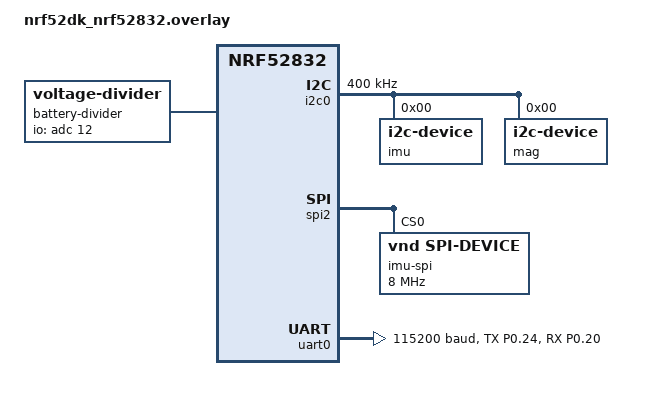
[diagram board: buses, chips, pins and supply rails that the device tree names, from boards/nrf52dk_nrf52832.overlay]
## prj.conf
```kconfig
#CONFIG_NCS_SAMPLES_DEFAULTS
CONFIG_ASSERT=y
CONFIG_ASSERT_NO_COND_INFO=y
CONFIG_ASSERT_NO_MSG_INFO=y
CONFIG_RESET_ON_FATAL_ERROR=y

CONFIG_NCS_APPLICATION_BOOT_BANNER_STRING="SlimeVR-Tracker-nRF"
#CONFIG_NCS_BOOT_BANNER=n
CONFIG_BOOT_BANNER=n

CONFIG_ESB=y
#need to enable for nRF54L
CONFIG_NRFX_DPPI10=y

CONFIG_ADC=y
CONFIG_ADC_NRFX_SAADC=y
CONFIG_FPU=y
CONFIG_I2C=y
CONFIG_SPI=y
CONFIG_PINCTRL=y

CONFIG_NVS=y
CONFIG_NVS_LOOKUP_CACHE=y
CONFIG_NVS_INIT_BAD_MEMORY_REGION=y

CONFIG_POWEROFF=y
CONFIG_REBOOT=y

CONFIG_FLASH=y
CONFIG_FLASH_PAGE_LAYOUT=y
CONFIG_FLASH_MAP=y

CONFIG_SETTINGS=y
CONFIG_SETTINGS_RUNTIME=y
CONFIG_SETTINGS_NONE=y

CONFIG_MPU_ALLOW_FLASH_WRITE=y

CONFIG_RETAINED_MEM=y

#CONFIG_USE_SEGGER_RTT=y
CONFIG_LOG=y
#CONFIG_PRINTK=y
CONFIG_LOG_MODE_DEFERRED=y
CONFIG_LOG_SPEED=y
CONFIG_LOG_BACKEND_RTT=y
CONFIG_CBPRINTF_FP_SUPPORT=y
CONFIG_ADC_LOG_LEVEL_OFF=y
CONFIG_LOG_FUNC_NAME_PREFIX_ERR=y
CONFIG_LOG_BUFFER_SIZE=1536
CONFIG_LOG_BACKEND_UART_AUTOSTART=n
CONFIG_LOG_PROCESS_THREAD_SLEEP_MS=50
CONFIG_LOG_PROCESS_THREAD_STACK_SIZE=1024

CONFIG_PWM=y
CONFIG_GPIO=y

CONFIG_CRC=y

CONFIG_NEWLIB_LIBC=y
CONFIG_NRFX_TIMER1=y

#speed up boot? (use internal rc oscillator)
CONFIG_CLOCK_CONTROL_NRF_K32SRC_RC=y
CONFIG_CLOCK_CONTROL_NRF_K32SRC_RC_CALIBRATION=n
#speed up boot? (synthesize lf clock)
#CONFIG_CLOCK_CONTROL_NRF_K32SRC_SYNTH=y

# dont need it
CONFIG_CRYPTO=n

# set timeout for 25ms, sufficient for ~1000 bytes
CONFIG_I2C_NRFX_TRANSFER_TIMEOUT=25

CONFIG_USB_DEVICE_HID=y
CONFIG_USB_DEVICE_VID=0x1209
CONFIG_USB_DEVICE_PID=0x7692
CONFIG_USB_HID_BOOT_PROTOCOL=y
CONFIG_USB_DEVICE_INITIALIZE_AT_BOOT=n
CONFIG_USB_CDC_ACM=y
CONFIG_UART_INTERRUPT_DRIVEN=y
CONFIG_USB_WORKQUEUE_STACK_SIZE=512

CONFIG_SERIAL=y
CONFIG_CONSOLE=y
#CONFIG_RTT_CONSOLE=y
CONFIG_UART_CONSOLE=y
CONFIG_UART_LINE_CTRL=y
# fit "write all <base64:173>"
CONFIG_CONSOLE_INPUT_MAX_LINE_LEN=256
CONFIG_UART_CONSOLE_ON_DEV_NAME="UART_0"

CONFIG_LOG=y
CONFIG_USB_DRIVER_LOG_LEVEL_ERR=y
CONFIG_USB_DEVICE_LOG_LEVEL_ERR=y
CONFIG_USB_CDC_ACM_LOG_LEVEL_OFF=y

CONFIG_LOG_BACKEND_UART=y

CONFIG_CONSOLE_SUBSYS=y
CONFIG_CONSOLE_GETLINE=y

CONFIG_NVS_LOG_LEVEL_WRN=y
CONFIG_USB_HID_LOG_LEVEL_WRN=y

CONFIG_USB_DEVICE_SOF=y
CONFIG_USB_HID_REPORTS=256

#CONFIG_USB_HID_POLL_INTERVAL_MS=1
CONFIG_USB_HID_POLL_INTERVAL_MS=0
CONFIG_HID_INTERRUPT_EP_MPS=64
#CONFIG_ENABLE_HID_INT_OUT_EP=y

CONFIG_SYSTEM_WORKQUEUE_STACK_SIZE=256
CONFIG_MAIN_STACK_SIZE=512
#crashing on nrf54l at 512

CONFIG_THREAD_NAME=y

# TODO: because of icm426, this will break things and needs to be raised to at least 3k
CONFIG_HEAP_MEM_POOL_SIZE=2048
CONFIG_ISR_STACK_SIZE=1024

CONFIG_PM_DEVICE=y

CONFIG_BASE64=y

#CONFIG_THREAD_ANALYZER=y
#CONFIG_THREAD_ANALYZER_AUTO=y
#CONFIG_THREAD_ANALYZER_AUTO_INTERVAL=5
```

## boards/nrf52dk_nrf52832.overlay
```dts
&pwm0_default {
	group1 {
		psels = <NRF_PSEL(PWM_OUT0, 0, 13)>,
			<NRF_PSEL(PWM_OUT1, 0, 14)>,
			<NRF_PSEL(PWM_OUT2, 0, 15)>;
		nordic,drive-mode = <NRF_DRIVE_D0S1>;
		nordic,invert;
	};
};

&pwm0_sleep {
	group1 {
		psels = <NRF_PSEL(PWM_OUT0, 0, 13)>,
			<NRF_PSEL(PWM_OUT1, 0, 14)>,
			<NRF_PSEL(PWM_OUT2, 0, 15)>;
	};
};

/ {
	chosen {
		zephyr,console = &uart0;
	};
	pwmleds {
		pwm_led1: pwm_led_1 {
			pwms = <&pwm0 1 PWM_MSEC(20) PWM_POLARITY_INVERTED>;
		};
		pwm_led2: pwm_led_2 {
			pwms = <&pwm0 2 PWM_MSEC(20) PWM_POLARITY_INVERTED>;
		};
	};

	battery-divider {
		compatible = "voltage-divider";
		status = "okay";
		io-channels = <&adc 12>; // Measure VDDHDIV5
		output-ohms = <1>;
		full-ohms = <2>;
	};

	aliases {
		pwm-led1 = &pwm_led1;
		pwm-led2 = &pwm_led2;
	};
};

&i2c0 {
	compatible = "nordic,nrf-twim";
	zephyr,concat-buf-size = <255>; // MAXCNT
	zephyr,flash-buf-max-size = <255>;
	clock-frequency = <I2C_BITRATE_FAST>;

	imu: imu@0 { // any address out of range (00, 7f, etc. will search all addresses and stored address first if available, specify an address here to search first otherwise
		compatible = "i2c-device";
		label = "imu";
		reg = <0>;
	};

	mag: mag@0 {
		compatible = "i2c-device";
		label = "mag";
		reg = <0>;
	};

};

arduino_spi: &spi2 {
	imu_spi: imu_spi@0 {
		compatible = "vnd,spi-device";
		spi-max-frequency = <DT_FREQ_M(8)>;
		label = "imu-spi";
		reg = <0>;
	};
};

&uart0 {
	compatible = "nordic,nrf-uart";
	status = "okay";
	current-speed = <115200>;
    
    pinctrl-0 = <&pinctrl_uart0_default>;
	pinctrl-1 = <&pinctrl_uart0_sleep>;
	pinctrl-names = "default", "sleep";
};

// --- 在 &pinctrl (通常是 GPIO 節點) 中定義引腳 ---
&pinctrl {
	pinctrl_uart0_default: uart0_default {
		group {
			psels = <NRF_PSEL(UART_TX, 0, 24)>, 
					<NRF_PSEL(UART_RX, 0, 20)>;
		};
	};
	pinctrl_uart0_sleep: uart0_sleep {
		group {
			psels = <NRF_PSEL(UART_TX, 0, 24)>, 
					<NRF_PSEL(UART_RX, 0, 20)>;
			low-power-enable;
		};
	};
};

&reg {
    regulator-initial-mode = <NRF5X_REG_MODE_LDO>;
};
```

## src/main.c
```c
/*
 * Copyright (c) 2024 Zephyr Console Example
 * Target: nRF52832
 */

#include <zephyr/kernel.h>
#include <zephyr/sys/printk.h>
#include <zephyr/console/console.h> /* 引入 Console 子系統 */

/* * 輸入處理執行緒
 * 負責透過 console_getline 讀取資料並處理
 */
void input_thread_entry(void *p1, void *p2, void *p3)
{
	printk("[Input Thread] 啟動，等待輸入...\n");

	/* 初始化 console_getline 功能 */
	console_getline_init();

	while (1) {
		/* 提示符號 */
		printk("Zephyr> ");

		/* * console_getline() 是一個阻塞函數 (Blocking Call)
		 * 它會讓此執行緒進入休眠，直到使用者輸入一行文字並按下 Enter
		 * 這樣不會佔用 CPU 資源
		 */
		char *s = console_getline();

		/* 收到輸入後的處理 */
		printk("\n[Input Thread] 您輸入了: %s\n", s);
		
		/* 簡單的指令判斷範例 */
		if (strcmp(s, "hello") == 0) {
			printk("-> World!\n");
		} else if (strcmp(s, "help") == 0) {
			printk("-> 支援指令: hello, help\n");
		}
	}
}

int main(void)
{
	printk("[Main] 系統啟動\n");

	/* * 建立並啟動輸入處理執行緒
	 * 這樣輸入邏輯就與主程式邏輯分開了
	 */
	printk("[Input Thread] 啟動，等待輸入...\n");

	/* 初始化 console_getline 功能 */
	console_getline_init();

	while (1) {
		/* 提示符號 */
		printk("Zephyr> ");

		/* * console_getline() 是一個阻塞函數 (Blocking Call)
		 * 它會讓此執行緒進入休眠，直到使用者輸入一行文字並按下 Enter
		 * 這樣不會佔用 CPU 資源
		 */
		char *s = console_getline();

		/* 收到輸入後的處理 */
		printk("\n[Input Thread] 您輸入了: %s\n", s);
		
		/* 簡單的指令判斷範例 */
		if (strcmp(s, "hello") == 0) {
			printk("-> World!\n");
		} else if (strcmp(s, "help") == 0) {
			printk("-> 支援指令: hello, help\n");
		}
	}
	/* * 主執行緒 (Main Thread) 迴圈
	 * 這裡模擬系統的其他工作（例如讀取感測器、閃爍 LED 等）
	 * 證明 console_getline 不會卡住整個系統
	 */
	int count = 0;
	while (1) {
		/* 每 5 秒印出一條訊息，證明主執行緒仍在運作 */
		// printk("[Main] 系統運作中... (%d)\n", ++count);
		k_sleep(K_SECONDS(5));
	}
	
	return 0;
}
```

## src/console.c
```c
#include "globals.h"
#include "system/system.h"
#include "system/battery_tracker.h"
#include "sensor/sensor.h"
#include "sensor/calibration.h"
#include "connection/esb.h"
#include "build_defines.h"
#include "parse_args.h"

#if CONFIG_USB_DEVICE_STACK
#define USB DT_NODELABEL(usbd)
#define USB_EXISTS (DT_NODE_HAS_STATUS(USB, okay) && CONFIG_UART_CONSOLE)
#else
#define CONFIG_UART_CONSOLE_DIRECT CONFIG_UART_CONSOLE
#endif

#if (USB_EXISTS || CONFIG_RTT_CONSOLE || CONFIG_UART_CONSOLE_DIRECT) && CONFIG_USE_SLIMENRF_CONSOLE

#if USB_EXISTS
#include <zephyr/console/console.h>
#include <zephyr/logging/log_ctrl.h>
#elif CONFIG_UART_CONSOLE_DIRECT
#include <zephyr/console/console.h>
#include <zephyr/logging/log_ctrl.h>
#else
#include "system/rtt_console.h"
#endif
#include <zephyr/drivers/gpio.h>
#include <zephyr/sys/reboot.h>
#include <zephyr/sys/base64.h>

#include <ctype.h>

LOG_MODULE_REGISTER(console, LOG_LEVEL_INF);

static void console_thread(void);
#if USB_EXISTS
#warning "USB exist"
static struct k_thread console_thread_id;
static K_THREAD_STACK_DEFINE(console_thread_id_stack, 1024); // TODO: larger stack size to handle print info
#else
#warning "USB not exist"
K_THREAD_DEFINE(console_thread_id, 1024, console_thread, NULL, NULL, NULL, CONSOLE_THREAD_PRIORITY, 0, 0);
#endif

#define DFU_EXISTS CONFIG_BUILD_OUTPUT_UF2 || CONFIG_BOARD_HAS_NRF5_BOOTLOADER
#define ADAFRUIT_BOOTLOADER CONFIG_BUILD_OUTPUT_UF2
#define NRF5_BOOTLOADER CONFIG_BOARD_HAS_NRF5_BOOTLOADER

#if NRF5_BOOTLOADER
static const struct device *gpio_dev = DEVICE_DT_GET(DT_NODELABEL(gpio0));
#endif

#if DT_NODE_HAS_STATUS(DT_NODELABEL(mag), okay)
#define SENSOR_MAG_EXISTS true
#endif

static const char *meows[] = {
	"Mew",
	"Meww",
	"Meow",
	"Meow meow",
	"Mrrrp",
	"Mrrf",
	"Mreow",
	"Mrrrow",
	"Mrrr",
	"Purr",
	"mew",
	"meww",
	"meow",
	"meow meow",
	"mrrrp",
	"mrrf",
	"mreow",
	"mrrrow",
	"mrrr",
	"purr",
};

static const char *meow_punctuations[] = {
	".",
	"?",
	"!",
	"-",
	"~",
	""
};

static const char *meow_suffixes[] = {
	" :3",
	" :3c",
	" ;3",
	" ;3c",
	" x3",
	" x3c",
	" X3",
	" X3c",
	" >:3",
	" >:3c",
	" >;3",
	" >;3c",
	""
};

void console_thread_create(void)
{
#if USB_EXISTS
	k_thread_create(&console_thread_id, console_thread_id_stack, K_THREAD_STACK_SIZEOF(console_thread_id_stack), (k_thread_entry_t)console_thread, NULL, NULL, NULL, CONSOLE_THREAD_PRIORITY, 0, K_NO_WAIT);
#endif
}

void console_thread_abort(void)
{
#if USB_EXISTS
	k_thread_abort(&console_thread_id);
#endif
}

static void print_board(void)
{
#if USB_EXISTS
	printk(CONFIG_USB_DEVICE_MANUFACTURER " " CONFIG_USB_DEVICE_PRODUCT "\n");
#endif
	printk(FW_STRING);

	printk("\nBoard: " CONFIG_BOARD "\n");
	printk("SOC: " CONFIG_SOC "\n");
	printk("Target: " CONFIG_BOARD_TARGET "\n");
}

static void print_sensor(void)
{
	printk("IMU: %s\n", (retained->imu_addr & 0x7F) != 0x7F ? sensor_get_sensor_imu_name() : "Not searching");
	if (retained->imu_reg != 0xFF)
		printk("Interface: %s\n", (retained->imu_reg & 0x80) ? "SPI" : "I2C");
	printk("Address: 0x%02X%02X\n", retained->imu_addr, retained->imu_reg);

#if SENSOR_MAG_EXISTS
	printk("\nMagnetometer: %s\n", (retained->mag_addr & 0x7F) != 0x7F ? sensor_get_sensor_mag_name() : "Not searching");
	if (retained->mag_reg != 0xFF)
		printk("Interface: %s%s\n", (retained->mag_reg & 0x80) ? "SPI" : "I2C", (retained->mag_addr & 0x80) ? ", external" : "");
	printk("Address: 0x%02X%02X\n", retained->mag_addr, retained->mag_reg);
#endif

#if CONFIG_SENSOR_USE_6_SIDE_CALIBRATION
	printk("\nAccelerometer matrix:\n");
	for (int i = 0; i < 3; i++)
		printk("%.5f %.5f %.5f %.5f\n", (double)retained->accBAinv[0][i], (double)retained->accBAinv[1][i], (double)retained->accBAinv[2][i], (double)retained->accBAinv[3][i]);
#else
	printk("\nAccelerometer bias: %.5f %.5f %.5f\n", (double)retained->accelBias[0], (double)retained->accelBias[1], (double)retained->accelBias[2]);
#endif
	printk("Gyroscope bias: %.5f %.5f %.5f\n", (double)retained->gyroBias[0], (double)retained->gyroBias[1], (double)retained->gyroBias[2]);
#if SENSOR_MAG_EXISTS
//	printk("Magnetometer bridge offset: %.5f %.5f %.5f\n", (double)retained->magBias[0], (double)retained->magBias[1], (double)retained->magBias[2]);
	printk("Magnetometer matrix:\n");
	for (int i = 0; i < 3; i++)
		printk("%.5f %.5f %.5f %.5f\n", (double)retained->magBAinv[0][i], (double)retained->magBAinv[1][i], (double)retained->magBAinv[2][i], (double)retained->magBAinv[3][i]);
#endif

	printk("\nFusion: %s\n", sensor_get_sensor_fusion_name());
}

static void print_connection(void)
{
	bool paired = retained->paired_addr[0];
	printk(paired ? "Tracker ID: %u\n" : "\nTracker ID: None\n", retained->paired_addr[1]);
	printk("Device address: %012llX\n", *(uint64_t *)NRF_FICR->DEVICEADDR & 0xFFFFFFFFFFFF);
	printk(paired ? "Receiver address: %012llX\n" : "Receiver address: None\n", (*(uint64_t *)&retained->paired_addr[0] >> 16) & 0xFFFFFFFFFFFF);
}

static void print_battery(void)
{
	int battery_mV = sys_get_valid_battery_mV();
	int16_t calibrated_pptt = sys_get_calibrated_battery_pptt(sys_get_valid_battery_pptt());
	uint64_t unplugged_time = sys_get_last_unplugged_time();
	uint64_t remaining = sys_get_battery_remaining_time_estimate();
	uint64_t runtime = sys_get_battery_runtime_estimate();
	if (battery_mV > 0)
	{
		unplugged_time = k_ticks_to_us_floor64(k_uptime_ticks() - unplugged_time);
		uint32_t hours = unplugged_time / 3600000000;
		unplugged_time %= 3600000000;
		uint8_t minutes = unplugged_time / 60000000;
		if (hours > 0 || minutes > 0)
			printk("Battery: %.0f%% (Read %uh %umin ago)\n", (double)calibrated_pptt / 100.0, hours, minutes);
		else
			printk("Battery: %.0f%%\n", (double)calibrated_pptt / 100.0);
	}
	else if (unplugged_time == 0)
	{
		printk("Battery: Waiting for valid reading\n");
	}
	else
	{
		printk("Battery: None\n");
	}
	if (remaining > 0)
	{
		remaining = k_ticks_to_us_floor64(remaining);
		uint32_t hours = remaining / 3600000000;
		remaining %= 3600000000;
		uint8_t minutes = remaining / 60000000;
		printk("Remaining runtime: %uh %umin\n", hours, minutes);
	}
	else
	{
		printk("Remaining runtime: Not available\n");
	}
	if (runtime > 0)
	{
		runtime = k_ticks_to_us_floor64(runtime);
		uint32_t hours = runtime / 3600000000;
		runtime %= 3600000000;
		uint8_t minutes = runtime / 60000000;
		printk("Fully charged runtime: %uh %umin\n", hours, minutes);
	}
	else
	{
		printk("Fully charged runtime: Not available\n");
	}
}

static void print_info(void)
{
	print_board();
	printk("\n");
	print_sensor();
	printk("\n");
	print_connection();
	printk("\n");
	print_battery();
}

static void print_uptime(const uint64_t ticks, const char *name)
{
	uint64_t uptime = k_ticks_to_us_floor64(ticks);

	uint32_t hours = uptime / 3600000000;
	uptime %= 3600000000;
	uint8_t minutes = uptime / 60000000;
	uptime %= 60000000;
	uint8_t seconds = uptime / 1000000;
	uptime %= 1000000;
	uint16_t milliseconds = uptime / 1000;
	uint16_t microseconds = uptime % 1000;

	printk("%s: %02u:%02u:%02u.%03u,%03u\n", name, hours, minutes, seconds, milliseconds, microseconds);
}

static void print_battery_tracker(void)
{
	int adc_mV = sys_get_battery_mV();
	printk("ADC: %d mV\n", adc_mV);

	int battery_mV = sys_get_valid_battery_mV();
	int16_t pptt = sys_get_valid_battery_pptt();
	int16_t calibrated_pptt = sys_get_calibrated_battery_pptt(pptt);
	uint64_t unplugged_time = sys_get_last_unplugged_time();
	if (battery_mV > 0)
		printk("\nBattery: %.2f%% (Raw %.2f%%, %d mV)\n", (double)calibrated_pptt / 100.0, (double)pptt / 100.0, battery_mV);
	else
		printk("\nBattery: None\n");
	if (unplugged_time > 0)
		print_uptime(k_uptime_ticks() - unplugged_time, "Last updated");
	else
		printk("Last updated: Never\n");

	uint64_t runtime = sys_get_battery_runtime_estimate();
	uint64_t runtime_min = sys_get_battery_runtime_min_estimate();
	uint64_t runtime_max = sys_get_battery_runtime_max_estimate();
	uint64_t remaining = sys_get_battery_remaining_time_estimate();
	if (remaining > 0)
		print_uptime(remaining, "\nRemaining runtime");
	else
		printk("Remaining runtime: Not available\n");
	if (runtime > 0)
		print_uptime(runtime, "Fully charged runtime");
	else
		printk("Fully charged runtime: Not available\n");
	if (runtime_min > 0)
		print_uptime(runtime_min, "Minimum runtime");
	else
		printk("Minimum runtime: Not available\n");
	if (runtime_max > 0)
		print_uptime(runtime_max, "Maximum runtime");
	else
		printk("Maximum runtime: Not available\n");

	int16_t last_min = sys_get_last_cycle_min_pptt();
	int16_t last_max = sys_get_last_cycle_max_pptt();
	int16_t last_calibrated_min = sys_get_calibrated_battery_pptt(last_min);
	int16_t last_calibrated_max = sys_get_calibrated_battery_pptt(last_max);
	uint64_t last_runtime = sys_get_last_cycle_runtime();
	if (last_min >= 0 && last_max >= 0 && last_runtime > 0)
	{
		printk("\nLast discharge cycle: %.2f%% -> %.2f%% (Raw %.2f%% -> %.2f%%)\n", (double)last_calibrated_max / 100.0, (double)last_calibrated_min / 100.0, (double)last_max / 100.0, (double)last_min / 100.0);
		print_uptime(last_runtime, "Last cycle runtime");
	}
	else
	{
		printk("\nLast cycle: Not available\n");
	}

	uint8_t coverage = sys_get_battery_calibration_coverage() * 5;
	int16_t min = sys_get_calibrated_battery_range_min_pptt();
	int16_t max = sys_get_calibrated_battery_range_max_pptt();
	if (min >= 0 && max >= 0)
		printk("\nCalibration: %.0f%% - %.0f%% (%.0f%% coverage)\n", (double)min / 100.0, (double)max / 100.0, (double)coverage);
	else
		printk("\nCalibration: None\n");
	printk("Cycle count: ~%.2f\n", (double)sys_get_battery_cycles() / 20.0);
}

static void print_meow(void)
{
	int64_t ticks = k_uptime_ticks();

	ticks %= ARRAY_SIZE(meows) * ARRAY_SIZE(meow_punctuations) * ARRAY_SIZE(meow_suffixes); // silly number generator
	uint8_t meow = ticks / (ARRAY_SIZE(meow_punctuations) * ARRAY_SIZE(meow_suffixes));
	ticks %= (ARRAY_SIZE(meow_punctuations) * ARRAY_SIZE(meow_suffixes));
	uint8_t punctuation = ticks / ARRAY_SIZE(meow_suffixes);
	uint8_t suffix = ticks % ARRAY_SIZE(meow_suffixes);

	printk("%s%s%s\n", meows[meow], meow_punctuations[punctuation], meow_suffixes[suffix]);
}

static inline void strtolower(char *str) {
	for(int i = 0; str[i]; i++) {
		str[i] = tolower(str[i]);
	}
}

static void console_thread(void)
{
#if USB_EXISTS && DFU_EXISTS
	if (button_read()) // button held on usb connect, enter DFU
	{
#if ADAFRUIT_BOOTLOADER
		NRF_POWER->GPREGRET = 0x57;
		sys_request_system_reboot(false);
#endif
#if NRF5_BOOTLOADER
		gpio_pin_configure(gpio_dev, 19, GPIO_OUTPUT | GPIO_OUTPUT_INIT_LOW);
#endif
	}
#endif

	console_getline_init();
	while (log_data_pending())
		k_usleep(1);
	k_msleep(100);
	printk(FW_STRING);
	printk("info                         Get device information\n");
	printk("uptime                       Get device uptime\n");
	printk("reboot                       Soft reset the device\n");
	printk("battery                      Get battery information\n");
	printk("scan                         Restart sensor scan\n");
	printk("calibrate                    Calibrate sensor ZRO\n");

	const char command_info[] = "info";
	const char command_uptime[] = "uptime";
	const char command_reboot[] = "reboot";
	const char command_battery[] = "battery";
	const char command_scan[] = "scan";
	const char command_calibrate[] = "calibrate";

#if CONFIG_SENSOR_USE_6_SIDE_CALIBRATION
	printk("6-side                       Calibrate 6-side accelerometer\n");

	const char command_6_side[] = "6-side";
#endif

#if SENSOR_MAG_EXISTS
	printk("mag                          Clear magnetometer calibration\n");

	const char command_mag[] = "mag";
#endif

	printk("set <address>                Manually set receiver\n");
	printk("pair                         Enter pairing mode\n");
	printk("clear                        Clear pairing data\n");

	const char command_set[] = "set";
	const char command_pair[] = "pair";
	const char command_clear[] = "clear";

#if DFU_EXISTS
	printk("dfu                          Enter DFU bootloader\n");

	const char command_dfu[] = "dfu";
#endif

	printk("meow                         Meow!\n");

	const char command_meow[] = "meow";

	// debug
	const char command_reset[] = "reset";
	const char command_reset_arg_zro[] = "zro";
#if CONFIG_SENSOR_USE_6_SIDE_CALIBRATION
	const char command_reset_arg_acc[] = "acc";
#endif
#if SENSOR_MAG_EXISTS
	const char command_reset_arg_mag[] = "mag";
#endif
	const char command_reset_arg_bat[] = "bat";
	const char command_reset_arg_all[] = "all";

	// settings
	const char command_write[] = "write";
	const char command_read[] = "read";
	const char command_wr_arg_byte[] = "byte";
	const char command_wr_arg_word[] = "word";
	const char command_wr_arg_all[] = "all";

	while (1) {
#if USB_EXISTS
		char *line = console_getline();
#elif CONFIG_UART_CONSOLE_DIRECT
		char *line = console_getline();
#else
		char *line = rtt_console_getline();
#endif
		char* argv[5] = {NULL}; // command and 4 args
		size_t argc = parse_args(line, argv, ARRAY_SIZE(argv));
		if(argc == 0)
			continue;
		if(argc > 0)
			strtolower(argv[0]); // lower case the command
		if(argc > 1)
			strtolower(argv[1]); // lower case the first argument
		// only care that the first words are matchable

		if (strcmp(argv[0], command_info) == 0)
		{
			print_info();
		}
		else if (strcmp(argv[0], command_uptime) == 0)
		{
			uint64_t uptime = k_uptime_ticks();
			print_uptime(uptime, "Uptime");
			print_uptime(uptime - retained->uptime_latest + retained->uptime_sum, "Accumulated");
		}
		else if (strcmp(argv[0], command_reboot) == 0)
		{
			sys_request_system_reboot(false);
		}
		else if (strcmp(argv[0], command_battery) == 0)
		{
			print_battery_tracker();
		}
		else if (strcmp(argv[0], command_scan) == 0)
		{
			sensor_request_scan(true);
		}
		else if (strcmp(argv[0], command_calibrate) == 0)
		{
			sensor_request_calibration();
		}
#if CONFIG_SENSOR_USE_6_SIDE_CALIBRATION
		else if (strcmp(argv[0], command_6_side) == 0)
		{
			sensor_request_calibration_6_side();
		}
#endif
#if SENSOR_MAG_EXISTS
		else if (strcmp(argv[0], command_mag) == 0)
		{
			sensor_calibration_clear_mag(NULL, true);
		}
#endif
		else if (strcmp(argv[0], command_set) == 0) 
		{
			if (argc != 2)
			{
				printk("Invalid number of arguments\n");
				continue;
			}
			uint64_t addr = parse_u64(argv[1], 16);
			uint8_t buf[17];
			snprintk(buf, 17, "%016llx", addr);
			if (addr != 0 && strcmp(buf, argv[1]) == 0)
				esb_set_pair(addr);
			else
				printk("Invalid address\n");
		}
		else if (strcmp(argv[0], command_pair) == 0) 
		{
			esb_reset_pair();
		}
		else if (strcmp(argv[0], command_clear) == 0) 
		{
			esb_clear_pair();
		}
#if DFU_EXISTS
		else if (strcmp(argv[0], command_dfu) == 0)
		{
#if ADAFRUIT_BOOTLOADER
			NRF_POWER->GPREGRET = 0x57;
			sys_request_system_reboot(false);
#endif
#if NRF5_BOOTLOADER
			gpio_pin_configure(gpio_dev, 19, GPIO_OUTPUT | GPIO_OUTPUT_INIT_LOW);
#endif
		}
#endif
		else if (strcmp(argv[0], command_meow) == 0) 
		{
			print_meow();
		}
		else if (strcmp(argv[0], command_reset) == 0)
		{
			if (argc != 2)
			{
				printk("Invalid number of arguments\n");
			}
			else if (strcmp(argv[1], command_reset_arg_zro) == 0)
			{
				sensor_calibration_clear(NULL, NULL, true);
			}
#if CONFIG_SENSOR_USE_6_SIDE_CALIBRATION
			else if (strcmp(argv[1], command_reset_arg_acc) == 0)
			{
				sensor_calibration_clear_6_side(NULL, true);
			}
#endif
#if SENSOR_MAG_EXISTS
			else if (strcmp(argv[1], command_reset_arg_mag) == 0)
			{
				sensor_calibration_clear_mag(NULL, true);
			}
#endif
			else if (strcmp(argv[1], command_reset_arg_bat) == 0)
			{
				sys_reset_battery_tracker();
			}
			else if (strcmp(argv[1], command_reset_arg_all) == 0)
			{
				sys_clear();
			}
			else
			{
				printk("Invalid argument\n");
			}
		}
		else if (strcmp(argv[0], command_write) == 0) 
		{
			if (argc == 1)
			{
				printk("Invalid number of arguments\n");
			}
			else if (strcmp(argv[1], command_wr_arg_all) == 0)
			{
				if (argc != 3)
				{
					printk("Invalid number of arguments\n");
				}
				else
				{
					uint8_t *tmp = k_malloc(128);
					uint16_t len = 0;
					int err = base64_decode(tmp, 128, (size_t *)&len, argv[2], 172);
					printk("decode: %d, len %d\n", err, len);
					memcpy(retained->settings, tmp, sizeof(retained->settings));
					sys_write(SETTINGS_ID, NULL, retained->settings, sizeof(retained->settings));
					k_free(tmp);
				}
			}
			else if (argc != 4)
			{
				printk("Invalid number of arguments\n");
			}
			else
			{
				uint64_t addr = parse_u64(argv[2], 16);
				uint64_t val = parse_u64(argv[3], 10);
				if (strcmp(argv[1], command_wr_arg_byte) == 0)
				{
					if (addr < 128)
					{
						if (val < (1 << 8))
						{
							printk("write byte: %lld to %lld\n", val, addr);
							memcpy(retained->settings + addr, &val, 1);
							sys_write(SETTINGS_ID, NULL, retained->settings, sizeof(retained->settings));
						}
						else
						{
							printk("Invalid value\n");
						}
					}
					else
					{
						printk("Invalid address\n");
					}
				}
				else if (strcmp(argv[1], command_wr_arg_word) == 0)
				{
					if (addr < 127)
					{
						if (val < (1 << 16))
						{
							printk("write word: %lld to %lld\n", val, addr);
							memcpy(retained->settings + addr, &val, 2);
							sys_write(SETTINGS_ID, NULL, retained->settings, sizeof(retained->settings));
						}
						else
						{
							printk("Invalid value\n");
						}
					}
					else
					{
						printk("Invalid address\n");
					}
				}
			}
		}
		else if (strcmp(line, command_read) == 0) 
		{
			if (argc == 1)
			{
				printk("Invalid number of arguments\n");
			}
			else if (strcmp(argv[1], command_wr_arg_all) == 0)
			{
				if (argc != 2)
				{
					printk("Invalid number of arguments\n");
				}
				else
				{
					uint8_t *tmp = k_malloc(173);
					uint16_t len = 0;
					int err = base64_encode(tmp, 173, (size_t *)&len, retained->settings, 128);
					printk("encode: %d, len %d\n", err, len);
					printk("%s\n", tmp);
					k_free(tmp);
				}
			}
			else if (argc != 3)
			{
				printk("Invalid number of arguments\n");
			}
			else
			{
				uint64_t addr = parse_u64(argv[2], 16);
				uint64_t val = 0;
				if (strcmp(argv[1], command_wr_arg_byte) == 0)
				{
					if (addr < 128)
					{
						if (val < (1 << 8))
						{
							memcpy(&val, retained->settings + addr, 1);
							printk("read byte: %lld from %lld\n", val, addr);
						}
						else
						{
							printk("Invalid value\n");
						}
					}
					else
					{
						printk("Invalid address\n");
					}
				}
				else if (strcmp(argv[1], command_wr_arg_word) == 0)
				{
					if (addr < 127)
					{
						if (val < (1 << 16))
						{
							memcpy(&val, retained->settings + addr, 2);
							printk("read word: %lld from %lld\n", val, addr);
						}
						else
						{
							printk("Invalid value\n");
						}
					}
					else
					{
						printk("Invalid address\n");
					}
				}
			}
		}
		else
		{
			printk("Unknown command\n");
		}
	}
}

#endif
```
